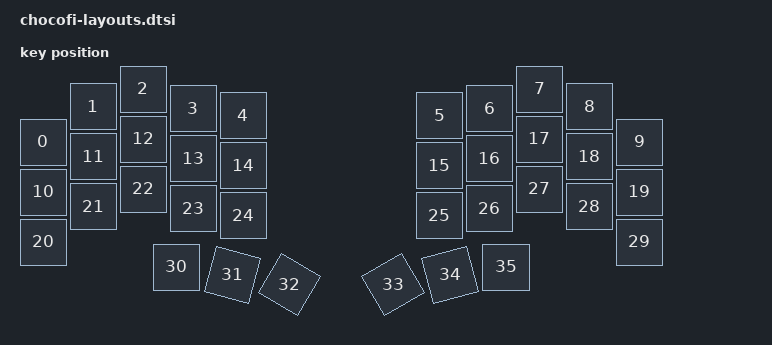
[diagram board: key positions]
#include <physical_layouts.dtsi>

/ {
    physical_layout_chocofi: physical_layout_chocofi {
        compatible = "zmk,physical-layout";
        display-name = "Chocofi";
        keys  //                     w   h    x    y     rot    rx    ry
            = <&key_physical_attrs 100 100    0  106       0     0   106>
            , <&key_physical_attrs 100 100  100   35       0   100    35>
            , <&key_physical_attrs 100 100  200    0       0   200     0>
            , <&key_physical_attrs 100 100  300   39       0   300    39>
            , <&key_physical_attrs 100 100  400   53       0   400    53>
            , <&key_physical_attrs 100 100  793   53       0   793    53>
            , <&key_physical_attrs 100 100  893   39       0   893    39>
            , <&key_physical_attrs 100 100  993    0       0   993     0>
            , <&key_physical_attrs 100 100 1093   35       0  1093    35>
            , <&key_physical_attrs 100 100 1193  106       0  1193   106>
            , <&key_physical_attrs 100 100    0  206       0     0   206>
            , <&key_physical_attrs 100 100  100  135       0   100   135>
            , <&key_physical_attrs 100 100  200  100       0   200   100>
            , <&key_physical_attrs 100 100  300  139       0   300   139>
            , <&key_physical_attrs 100 100  400  153       0   400   153>
            , <&key_physical_attrs 100 100  793  153       0   793   153>
            , <&key_physical_attrs 100 100  893  139       0   893   139>
            , <&key_physical_attrs 100 100  993  100       0   993   100>
            , <&key_physical_attrs 100 100 1093  135       0  1093   135>
            , <&key_physical_attrs 100 100 1193  206       0  1193   206>
            , <&key_physical_attrs 100 100    0  306       0     0   306>
            , <&key_physical_attrs 100 100  100  235       0   100   235>
            , <&key_physical_attrs 100 100  200  200       0   200   200>
            , <&key_physical_attrs 100 100  300  239       0   300   239>
            , <&key_physical_attrs 100 100  400  253       0   400   253>
            , <&key_physical_attrs 100 100  793  253       0   793   253>
            , <&key_physical_attrs 100 100  893  239       0   893   239>
            , <&key_physical_attrs 100 100  993  200       0   993   200>
            , <&key_physical_attrs 100 100 1093  235       0  1093   235>
            , <&key_physical_attrs 100 100 1193  306       0  1193   306>
            , <&key_physical_attrs 100 100  267  356       0   267   356>
            , <&key_physical_attrs 100 100  379  372    1500   429   422>
            , <&key_physical_attrs 100 100  493  391    3000   543   441>
            , <&key_physical_attrs 100 100  700  391 (-3000)   750   441>
            , <&key_physical_attrs 100 100  814  372 (-1500)   864   422>
            , <&key_physical_attrs 100 100  926  356       0   926   356>
            ;
    };
};
